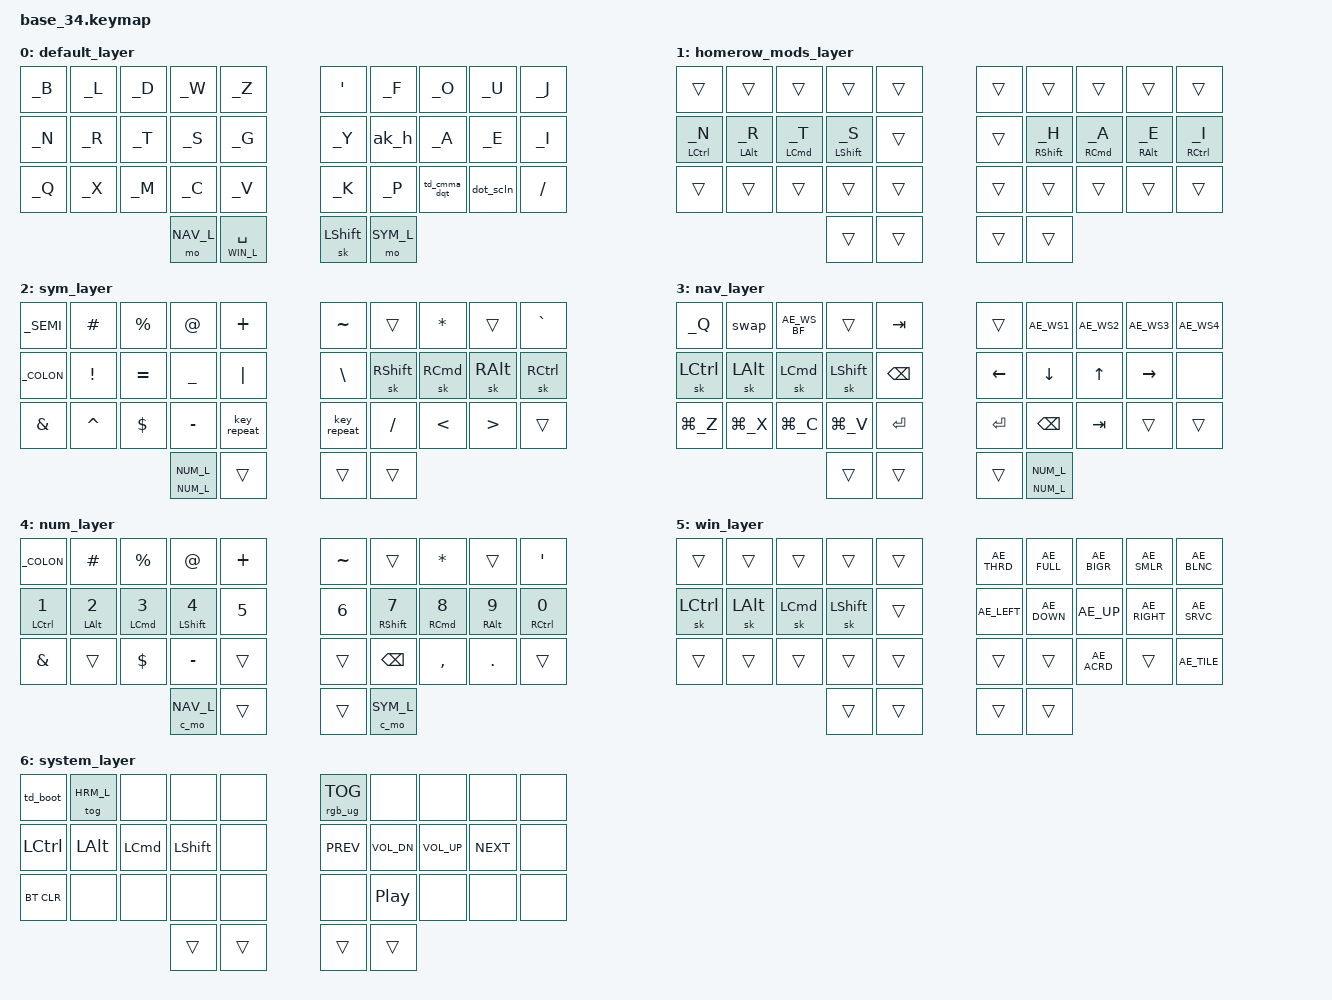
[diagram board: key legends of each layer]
/*
 * Copyright (c) 2022 The ZMK Contributors
 *
 * SPDX-License-Identifier: MIT
 */

#include <behaviors.dtsi>
#include <dt-bindings/zmk/keys.h>
#include <dt-bindings/zmk/rgb.h>
#include <dt-bindings/zmk/bt.h>

// https://github.com/urob/zmk-auto-layer
#include <behaviors/num_word.dtsi>
&num_word {
  ignore-modifiers;
};

#ifndef KEYMAP_DRAWER
// Use Vallium layout but map it in the OS
#include "locales/keys_vallium.h"
#include "aerospace_shortcuts.h"
#endif

/* Key positions
0  1  2  3  4         5  6  7  8  9
10 11 12 13 14        15 16 17 18 19
20 21 22 23 24        25 26 27 28 29
            30 31  32 33             */

#define KEYS_L 0 1 2 3 4 10 11 12 13 14 20 21 22 23 24
#define KEYS_R 5 6 7 8 9 15 16 17 18 19 25 26 27 28 29
#define KEYS_T 30 31  32 33

#define DEF_L 0
#define HRM_L 1
#define SYM_L 2
#define NAV_L 3
#define NUM_L 4
#define WIN_L 5
#define SYS_L 6

#define NON_SYS_LAYERS DEF_L HRM_L SYM_L NAV_L NUM_L

// How long a key must be pressed to trigger Hold behavior
#define HRM_TERM 280
// If you press a tapped hold-tap again within quick-tap-ms milliseconds of the
// first press, it will always trigger the tap behavior
#define HRM_QUICK_TAP 175
// This effectively disables the hold-tap when typing quickly. As a rule of
// thumb, you want to set it to at least 10500/x where x is your (relaxed) WPM
#define HRM_IDLE (10500 / 60)
#define COMBO_IDLE HRM_IDLE
#define AK_IDLE 300

#define COMBO_SLOW 100

#define STICKY_KEY_TIMEOUT 1000

// Exits num-word
#define CANCEL &kp K_CANCEL

#define SK_MEH &sk LC(LA(LGUI))
#define SK_HYP &sk LC(LA(LG(LSHFT)))
#ifndef MEH
#define MEH(KEY) &kp LC(LA(LG(KEY)))
#endif

&sk {  // sticky-key config
    release-after-ms = <STICKY_KEY_TIMEOUT>;
    quick-release;
};

/* Layer-tap is like super tap-preferred */
&lt {
    tapping-term-ms = <HRM_TERM>; // 200 is the default
    require-prior-idle-ms = <HRM_IDLE>;
};

/ {
    behaviors {
        hml: homerow_mods_left {
            compatible = "zmk,behavior-hold-tap";
            #binding-cells = <2>;
            flavor = "balanced";
            tapping-term-ms = <HRM_TERM>;
            quick-tap-ms = <HRM_QUICK_TAP>;
            require-prior-idle-ms = <HRM_IDLE>;
            bindings = <&kp>, <&kp>;
            hold-trigger-key-positions = <KEYS_R KEYS_T>;
            hold-trigger-on-release;             // delay positional check until key-release
        };

        hmr: homerow_mods_right {
            compatible = "zmk,behavior-hold-tap";
            #binding-cells = <2>;
            flavor = "balanced";
            tapping-term-ms = <HRM_TERM>;
            quick-tap-ms = <HRM_QUICK_TAP>;
            require-prior-idle-ms = <HRM_IDLE>;
            bindings = <&kp>, <&kp>;
            hold-trigger-key-positions = <KEYS_L KEYS_T>;
            hold-trigger-on-release;             // delay positional check until key-release
        };

        // Make , shift to "
        cmma_dqt: comma_double_quote {
            compatible = "zmk,behavior-mod-morph";
            #binding-cells = <0>;
            bindings = <&kp COMMA>, <&kp DQT>;
            mods = <(MOD_LSFT|MOD_RSFT)>;
        };

        // Make double-tapping , produce ," ... not ideal
        td_cmma_dqt: tapdance_comma_double_quote {
            compatible = "zmk,behavior-tap-dance";
            #binding-cells = <0>;
            tapping-term-ms = <200>;
            bindings = <&cmma_dqt>, <&cmma_qt_macro>;
        };

        // Make . shift to ;
        dot_scln: dot_scln {
            compatible = "zmk,behavior-mod-morph";
            #binding-cells = <0>;
            bindings = <&kp PERIOD>, <&kp _SEMI>;
            mods = <(MOD_LSFT|MOD_RSFT)>;
        };

        td_boot: double_tap_bootloader {
            compatible = "zmk,behavior-tap-dance";
            #binding-cells = <0>;
            tapping-term-ms = <200>;
            bindings = <&none>, <&bootloader>;
        };

        swap: swapper {
            compatible = "zmk,behavior-tri-state";
            #binding-cells = <0>;
            bindings = <&kt LCMD>, <&kp TAB>, <&kt LCMD>;
            // 0 is Q, 32 is shift
            ignored-key-positions = <0 32>;
        };

        #define SMART_NUM &smart_num NUM_L NUM_L
        smart_num: smart_num {
            compatible = "zmk,behavior-hold-tap";
            #binding-cells = <2>;
            flavor = "balanced";
            quick-tap-ms = <HRM_QUICK_TAP>;
            tapping-term-ms = <200>;
            bindings = <&mo>, <&num_word>;
        };
    };

    /* Key positions
    0  1  2  3  4         5  6  7  8  9
    10 11 12 13 14        15 16 17 18 19
    20 21 22 23 24        25 26 27 28 29
                30 31  32 33             */

    combos {
        compatible = "zmk,combos";

        vlbkt { key-positions = <1 11>; bindings = <&kp LBKT>; layers = <NON_SYS_LAYERS>; require-prior-idle-ms = <COMBO_IDLE>; };
        vlpar { key-positions = <2 12>; bindings = <&kp LPAR>; layers = <NON_SYS_LAYERS>; require-prior-idle-ms = <COMBO_IDLE>; };
        vlbrc { key-positions = <3 13>; bindings = <&kp LBRC>; layers = <NON_SYS_LAYERS>; require-prior-idle-ms = <COMBO_IDLE>; };
        vrbrc { key-positions = <6 16>; bindings = <&kp RBRC>; layers = <NON_SYS_LAYERS>; require-prior-idle-ms = <COMBO_IDLE>; };
        vrpar { key-positions = <7 17>; bindings = <&kp RPAR>; layers = <NON_SYS_LAYERS>; require-prior-idle-ms = <COMBO_IDLE>; };
        vrbkt { key-positions = <8 18>; bindings = <&kp RBKT>; layers = <NON_SYS_LAYERS>; require-prior-idle-ms = <COMBO_IDLE>; };

        cw   { key-positions = <20 29>; bindings = <&kp CAPSLOCK>; layers = <DEF_L>; timeout-ms = <COMBO_SLOW>; };

        ret  { key-positions = <16 17 18>; bindings = <&kp RET>; layers = <NON_SYS_LAYERS>; };
        esc  { key-positions = <11 12 13>; bindings = <&kp ESC>; layers = <NON_SYS_LAYERS>; };
        bsp  { key-positions = <26 27>; bindings = <&kp BSPC>; layers = <NON_SYS_LAYERS>; require-prior-idle-ms = <COMBO_IDLE>;};

        sall { key-positions = <21 22>; bindings = <&kp LG(_A)>; layers = <NAV_L>; };

        /* Activate system layer on inner thumb press */
        sys { key-positions = <31 32>; bindings = <&mo SYS_L>; require-prior-idle-ms = <COMBO_IDLE>; timeout-ms = <COMBO_SLOW>; };
    };

    macros {
      ZMK_MACRO(rf_arr, bindings = <&kp EQUAL &kp GT>;)
      ZMK_MACRO(rs_arr, bindings = <&kp MINUS &kp GT>;)
      ZMK_MACRO(lf_arr, bindings = <&kp LT &kp EQUAL>;)
      ZMK_MACRO(ls_arr, bindings = <&kp LT &kp MINUS>;)
      ZMK_MACRO(expipe, bindings = <&kp PIPE &kp GT &kp SPACE>;)
      ZMK_MACRO(eextag, bindings = <&kp LT &kp PRCNT &kp EQUAL &kp SPACE &kp SPACE &kp PRCNT &kp GT &kp LEFT &kp LEFT &kp LEFT>;)
      ZMK_MACRO(gn_macro, bindings = <&kp _G &kp _N>;)
      ZMK_MACRO(gns_macro, bindings = <&kp _G &kp _N &kp _S>;)
      ZMK_MACRO(cmma_qt_macro, bindings = <&kp COMMA &kp LS(DQT)>;)


        // Cancels the num-word sticky layer, then activates the given layer
        c_mo: cancel_mo {
            compatible = "zmk,behavior-macro-one-param";
            wait-ms = <0>;
            tap-ms = <0>;
            #binding-cells = <1>;
            bindings
                = <&macro_tap &kp K_CANCEL>
                , <&macro_param_1to1>
                , <&macro_press &mo MACRO_PLACEHOLDER>
                , <&macro_pause_for_release>
                , <&macro_param_1to1>
                , <&macro_release &mo MACRO_PLACEHOLDER>
                ;
        };
    };

    ak_h: ak_h {
        compatible = "zmk,behavior-adaptive-key";
        #binding-cells = <0>;
        bindings = <&kp _H>;

        akt_bh { trigger-keys = <_B>; bindings = <&kp _R>; max-prior-idle-ms = <AK_IDLE>; };
        akt_ih { trigger-keys = <_I>; bindings = <&kp _G>, <&kp _N>; max-prior-idle-ms = <AK_IDLE>; };
        akt_qh { trigger-keys = <_Q>; bindings = <&kp _U>; max-prior-idle-ms = <AK_IDLE>; };
    };

    keymap {
        compatible = "zmk,keymap";

        /* Mostly Graphite */
        default_layer {
            bindings = <
                &kp _B        &kp _L       &kp _D        &kp _W          &kp _Z        &kp SQT          &kp _F          &kp _O       &kp _U       &kp _J
                &kp _N        &kp _R       &kp _T        &kp _S          &kp _G        &kp _Y           &ak_h           &kp _A       &kp _E       &kp _I
                &kp _Q        &kp _X       &kp _M        &kp _C          &kp _V        &kp _K           &kp _P          &td_cmma_dqt &dot_scln    &kp FSLH
                                                         &mo NAV_L       &lt WIN_L SPACE     &sk LSHFT        &mo SYM_L
            >;
        };

        /* The idea here is to activate this when using Illustrator/Photoshop */
        homerow_mods_layer {
            bindings = <
                &trans        &trans       &trans        &trans          &trans        &trans           &trans          &trans       &trans       &trans
                &hml LCTRL _N &hml LALT _R &hml LCMD _T  &hml LSHFT _S   &trans        &trans           &hmr RSHFT _H   &hmr RCMD _A &hmr RALT _E &hmr RCTRL _I
                &trans        &trans       &trans        &trans          &trans        &trans           &trans          &trans       &trans       &trans
                                                         &trans          &trans        &trans           &trans
            >;
        };

        sym_layer {
            bindings = <
                &kp _SEMI  &kp HASH   &kp PRCNT   &kp AT          &kp PLUS      &kp TILDE       &trans         &kp STAR    &trans     &kp GRAVE
                &kp _COLON &kp EXCL   &kp EQUAL   &kp UNDER       &kp PIPE      &kp BSLH        &sk RSHFT      &sk RCMD    &sk RALT   &sk RCTRL
                &kp AMPS   &kp CARET  &kp DLLR    &kp MINUS       &key_repeat   &key_repeat     &kp FSLH       &kp LT      &kp GT     &trans
                                                  SMART_NUM       &trans        &trans          &trans
            >;
        };

        nav_layer {
            bindings = <
                &kp _Q      &swap       &kp AE_WS_BF &trans          &kp TAB         &trans   &kp AE_WS1     &kp AE_WS2  &kp AE_WS3 &kp AE_WS4
                &sk LCTRL   &sk LALT    &sk LCMD     &sk LSHFT       &kp BSPC        &kp LEFT &kp DOWN       &kp UP      &kp RIGHT  &none
                &kp LG(_Z)  &kp LG(_X)  &kp LG(_C)   &kp LG(_V)      &kp RET         &kp RET  &kp BSPC       &kp TAB     &trans     &trans
                                                     &trans          &trans          &trans   SMART_NUM
            >;
        };

        num_layer {
            bindings = <
                &kp _COLON    &kp HASH     &kp PRCNT    &kp AT        &kp PLUS      &kp TILDE &trans        &kp STAR     &trans       &kp SQT
                &hml LCTRL N1 &hml LALT N2 &hml LCMD N3 &hml LSHFT N4 &kp N5        &kp N6    &hmr RSHFT N7 &hmr RCMD N8 &hmr RALT N9 &hmr RCTRL N0
                &kp AMPS      &trans       &kp DLLR     &kp MINUS     &trans        &trans    &kp BSPC      &kp COMMA    &kp PERIOD   &trans
                                                        &c_mo NAV_L   &trans        &trans    &c_mo SYM_L
            >;
        };

        /* Aerospace window manager layer */
        win_layer {
            bindings = <
                &trans      &trans      &trans       &trans          &trans          &kp AE_THRD    &kp AE_FULL    &kp AE_BIGR     &kp AE_SMLR    &kp AE_BLNC
                &sk LCTRL   &sk LALT    &sk LCMD     &sk LSHFT       &trans          &kp AE_LEFT    &kp AE_DOWN    &kp AE_UP       &kp AE_RIGHT   &kp AE_SRVC
                &trans      &trans      &trans       &trans          &trans          &trans         &trans         &kp AE_ACRD     &trans         &kp AE_TILE
                                                     &trans          &trans          &trans         &trans
            >;
        };

        system_layer {
            bindings = <
                &td_boot   &tog HRM_L &none    &none     &none   &rgb_ug RGB_TOG &none        &none        &none      &none
                &kp LCTRL  &kp LALT   &kp LCMD &kp LSHFT &none   &kp C_PREV      &kp C_VOL_DN &kp C_VOL_UP &kp C_NEXT &none
                &bt BT_CLR &none      &none    &none     &none   &none           &kp C_PP     &none        &none      &none
                                               &trans    &trans  &trans          &trans
            >;
        };
    };
};
